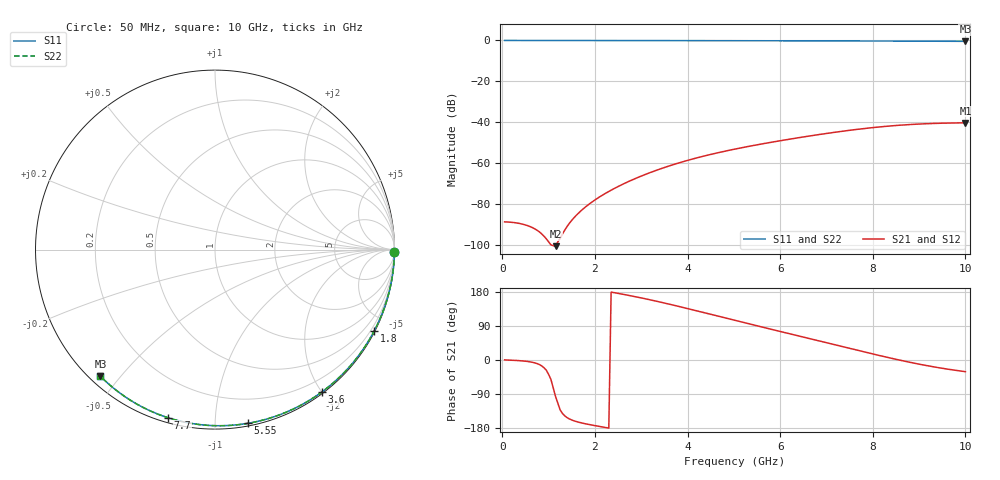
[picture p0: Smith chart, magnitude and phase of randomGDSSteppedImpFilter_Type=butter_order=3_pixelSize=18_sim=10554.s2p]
! freq	dB(S11)	phase(S11)	dB(S12)	phase(S12)
!  dB(S21)	phase(S21)	dB(S22)	phase(S22)
!S-par simulation data
#  GHz  S  DB  R 50
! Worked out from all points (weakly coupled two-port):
!   200 points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, 50 MHz to 10 GHz, reference 50 ohm
!   highest |S21| = -40.29 dB at 10 GHz (marker M1); lowest = -100.6 dB at 1.15 GHz (marker M2)
!   lowest |S11| = -0.4 dB at 10 GHz (marker M3), VSWR 40.19, Z = 1.49 - j22.2 ohm
!   |S11| at or under -10 dB: nowhere
!   |S22| runs from -0.4 to 0.0 dB; largest |S21 - S12| = 0
!   S11 on the Smith chart (normalised r, x): 50 MHz: open; 1.8 GHz: 0.04, -4.15; 3.6 GHz: 0.02, -2.01; 5.55 GHz: 0.02, -1.21; 7.7 GHz: 0.02, -0.76; 10 GHz: 0.03, -0.44
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0.05  -0.00 -0.8  -88.72 0.3  -88.72 0.3  -0.00 -0.8
0.6  -0.01 -9.2  -91.02 -4.9  -91.02 -4.9  -0.01 -9.2
1.15  -0.02 -17.4  -100.60 -96.4  -100.60 -96.4  -0.02 -17.4
1.75  -0.03 -26.4  -82.29 -167.2  -82.29 -167.2  -0.03 -26.4
1.8  -0.03 -27.1  -81.35 -168.5  -81.35 -168.5  -0.03 -27.1
1.85  -0.04 -27.8  -80.46 -169.7  -80.46 -169.7  -0.04 -27.9
1.9  -0.04 -28.6  -79.61 -170.9  -79.61 -170.9  -0.04 -28.6
2.05  -0.04 -30.8  -77.26 -174.3  -77.26 -174.3  -0.04 -30.8
2.25  -0.04 -33.7  -74.48 -178.6  -74.48 -178.6  -0.04 -33.7
2.65  -0.05 -39.5  -69.78 172.4  -69.78 172.4  -0.05 -39.5
3  -0.06 -44.5  -66.32 163.9  -66.32 163.9  -0.06 -44.6
3.4  -0.07 -50.2  -62.91 153.2  -62.91 153.2  -0.07 -50.2
3.6  -0.07 -53.0  -61.38 147.5  -61.38 147.5  -0.07 -53.0
4.3  -0.09 -62.6  -56.84 126.7  -56.84 126.7  -0.09 -62.7
5.05  -0.11 -72.7  -53.00 103.8  -53.00 103.8  -0.11 -72.7
5.55  -0.13 -79.2  -50.83 88.7  -50.83 88.7  -0.13 -79.2
6.1  -0.15 -86.2  -48.66 72.3  -48.66 72.3  -0.15 -86.2
6.7  -0.18 -93.6  -46.49 54.6  -46.49 54.6  -0.18 -93.7
7.7  -0.24 -105.7  -43.38 24.8  -43.38 24.8  -0.24 -105.7
8.35  -0.29 -113.4  -41.86 6.0  -41.86 6.0  -0.29 -113.4
9.15  -0.36 -122.6  -40.72 -14.4  -40.72 -14.4  -0.36 -122.6
10  -0.43 -132.1  -40.29 -30.7  -40.29 -30.7  -0.43 -132.2
